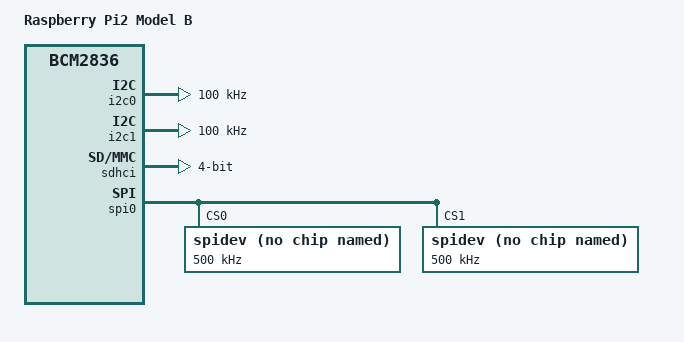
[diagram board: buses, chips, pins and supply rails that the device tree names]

/include/ "bcm2836.dtsi"

/ {
	compatible = "raspberrypi2,model-b", "brcm,bcm2836";
	model = "Raspberry Pi2 Model B";
};

&soc {
	firmware: firmware {
		compatible = "raspberrypi,bcm2835-firmware";
		mboxes = <&mailbox>;
	};
};

&i2c0 {
	status = "okay";
	clock-frequency = <100000>;
};

&i2c1 {
	status = "okay";
	clock-frequency = <100000>;
};

&sdhci {
	status = "okay";
	bus-width = <4>;
};

&spi0 {
	status = "okay";
	spidev@0{
		compatible = "spidev";
		reg = <0>;      /* CE0 */
		spi-max-frequency = <500000>;
	};

	spidev@1{
		compatible = "spidev";
		reg = <1>;      /* CE1 */
		spi-max-frequency = <500000>;
	};
};
